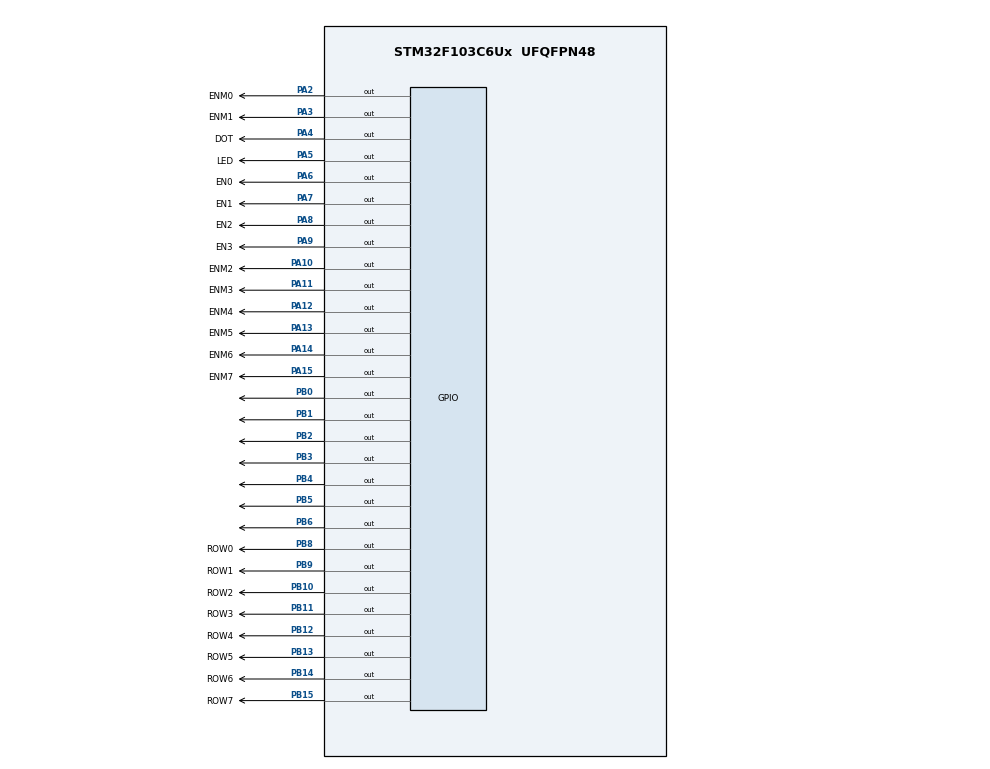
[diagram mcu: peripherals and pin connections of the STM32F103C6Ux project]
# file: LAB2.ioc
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Mcu.Family=STM32F1
Mcu.Name=STM32F103C6Ux
Mcu.Package=UFQFPN48
NVIC.PriorityGroup=NVIC_PRIORITYGROUP_4
NVIC.TIM2_IRQn=true\:0\:0\:false\:false\:true\:true\:true
PA10.GPIO_Label=ENM2
PA10.Signal=GPIO_Output
PA11.GPIO_Label=ENM3
PA11.Signal=GPIO_Output
PA12.GPIO_Label=ENM4
PA12.Signal=GPIO_Output
PA13.GPIO_Label=ENM5
PA13.Signal=GPIO_Output
PA14.GPIO_Label=ENM6
PA14.Signal=GPIO_Output
PA15.GPIO_Label=ENM7
PA15.Signal=GPIO_Output
PA2.GPIO_Label=ENM0
PA2.Signal=GPIO_Output
PA3.GPIO_Label=ENM1
PA3.Signal=GPIO_Output
PA4.GPIO_Label=DOT
PA4.Signal=GPIO_Output
PA5.GPIO_Label=LED
PA5.Signal=GPIO_Output
PA6.GPIO_Label=EN0
PA6.Signal=GPIO_Output
PA7.GPIO_Label=EN1
PA7.Signal=GPIO_Output
PA8.GPIO_Label=EN2
PA8.Signal=GPIO_Output
PA9.GPIO_Label=EN3
PA9.Signal=GPIO_Output
PB0.Signal=GPIO_Output
PB1.Signal=GPIO_Output
PB10.GPIO_Label=ROW2
PB10.Signal=GPIO_Output
PB11.GPIO_Label=ROW3
PB11.Signal=GPIO_Output
PB12.GPIO_Label=ROW4
PB12.Signal=GPIO_Output
PB13.GPIO_Label=ROW5
PB13.Signal=GPIO_Output
PB14.GPIO_Label=ROW6
PB14.Signal=GPIO_Output
PB15.GPIO_Label=ROW7
PB15.Signal=GPIO_Output
PB2.Signal=GPIO_Output
PB3.Signal=GPIO_Output
PB4.Signal=GPIO_Output
PB5.Signal=GPIO_Output
PB6.Signal=GPIO_Output
PB8.GPIO_Label=ROW0
PB8.Signal=GPIO_Output
PB9.GPIO_Label=ROW1
PB9.Signal=GPIO_Output
ProjectManager.HeapSize=0x200
ProjectManager.StackSize=0x400
ProjectManager.TargetToolchain=STM32CubeIDE
RCC.APB1Freq_Value=8000000
RCC.APB2Freq_Value=8000000
TIM2.Period=9
TIM2.Prescaler=7999
VP_SYS_VS_ND.Mode=No_Debug
VP_TIM2_VS_ClockSourceINT.Mode=Internal
board=custom

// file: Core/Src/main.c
/* USER CODE BEGIN Header */
/**
  ******************************************************************************
  * @file           : main.c
  * @brief          : Main program body
  ******************************************************************************
  * @attention
  *
  * <h2><center>&copy; Copyright (c) 2022 STMicroelectronics.
  * All rights reserved.</center></h2>
  *
  * This software component is licensed by ST under BSD 3-Clause license,
  * the "License"; You may not use this file except in compliance with the
  * License. You may obtain a copy of the License at:
  *                        opensource.org/licenses/BSD-3-Clause
  *
  ******************************************************************************
  */
/* USER CODE END Header */
#include "main.h"

/* USER CODE BEGIN Includes */
#include "software_timer.h"
#include "7led.h"
#include  "fsm_automatic.h"
#include "global.h"
#include "setup_matrix.h"
/* USER CODE END Includes */

TIM_HandleTypeDef htim2;

void SystemClock_Config(void);
static void MX_TIM2_Init(void);
static void MX_GPIO_Init(void);

int main(void)
{

  /* MCU Configuration--------------------------------------------------------*/

  /* Reset of all peripherals, Initializes the Flash interface and the Systick. */
  HAL_Init();

  /* Configure the system clock */
  SystemClock_Config();

  /* Initialize all configured peripherals */
  MX_TIM2_Init();
  MX_GPIO_Init();
  /* USER CODE BEGIN 2 */
  HAL_TIM_Base_Start_IT (& htim2) ;

  /* USER CODE END 2 */

  /* Infinite loop */
  /* USER CODE BEGIN WHILE */

  index_led_matrix = 0;
  shift = 0;
  setTimer1(2);
  while (1)
  {
	  	 if(timer1_flag == 1){
	  		setTimer1(2);
	  		//updateLedBuffer();
	  		updateLedBuffer_animation();
	  		if( index_led_matrix > 7) index_led_matrix = 0;
	  		updateLEDMatrix(index_led_matrix++) ;
	  	 }

    /* USER CODE END WHILE */

  }
}

void SystemClock_Config(void)
{
  RCC_OscInitTypeDef RCC_OscInitStruct = {0};
  RCC_ClkInitTypeDef RCC_ClkInitStruct = {0};

  /** Initializes the RCC Oscillators according to the specified parameters
  * in the RCC_OscInitTypeDef structure.
  */
  RCC_OscInitStruct.OscillatorType = RCC_OSCILLATORTYPE_HSI;
  RCC_OscInitStruct.HSIState = RCC_HSI_ON;
  RCC_OscInitStruct.HSICalibrationValue = RCC_HSICALIBRATION_DEFAULT;
  RCC_OscInitStruct.PLL.PLLState = RCC_PLL_NONE;
  if (HAL_RCC_OscConfig(&RCC_OscInitStruct) != HAL_OK)
  {
    Error_Handler();
  }
  /** Initializes the CPU, AHB and APB buses clocks
  */
  RCC_ClkInitStruct.ClockType = RCC_CLOCKTYPE_HCLK|RCC_CLOCKTYPE_SYSCLK
                              |RCC_CLOCKTYPE_PCLK1|RCC_CLOCKTYPE_PCLK2;
  RCC_ClkInitStruct.SYSCLKSource = RCC_SYSCLKSOURCE_HSI;
  RCC_ClkInitStruct.AHBCLKDivider = RCC_SYSCLK_DIV1;
  RCC_ClkInitStruct.APB1CLKDivider = RCC_HCLK_DIV1;
  RCC_ClkInitStruct.APB2CLKDivider = RCC_HCLK_DIV1;

  if (HAL_RCC_ClockConfig(&RCC_ClkInitStruct, FLASH_LATENCY_0) != HAL_OK)
  {
    Error_Handler();
  }
}

static void MX_TIM2_Init(void)
{

  TIM_ClockConfigTypeDef sClockSourceConfig = {0};
  TIM_MasterConfigTypeDef sMasterConfig = {0};

  htim2.Instance = TIM2;
  htim2.Init.Prescaler = 7999;
  htim2.Init.CounterMode = TIM_COUNTERMODE_UP;
  htim2.Init.Period = 9;
  htim2.Init.ClockDivision = TIM_CLOCKDIVISION_DIV1;
  htim2.Init.AutoReloadPreload = TIM_AUTORELOAD_PRELOAD_DISABLE;
  if (HAL_TIM_Base_Init(&htim2) != HAL_OK)
  {
    Error_Handler();
  }
  sClockSourceConfig.ClockSource = TIM_CLOCKSOURCE_INTERNAL;
  if (HAL_TIM_ConfigClockSource(&htim2, &sClockSourceConfig) != HAL_OK)
  {
    Error_Handler();
  }
  sMasterConfig.MasterOutputTrigger = TIM_TRGO_RESET;
  sMasterConfig.MasterSlaveMode = TIM_MASTERSLAVEMODE_DISABLE;
  if (HAL_TIMEx_MasterConfigSynchronization(&htim2, &sMasterConfig) != HAL_OK)
  {
    Error_Handler();
  }

}

static void MX_GPIO_Init(void)
{
  GPIO_InitTypeDef GPIO_InitStruct = {0};

  /* GPIO Ports Clock Enable */
  __HAL_RCC_GPIOA_CLK_ENABLE();
  __HAL_RCC_GPIOB_CLK_ENABLE();

  /*Configure GPIO pin Output Level */
  HAL_GPIO_WritePin(GPIOA, ENM0_Pin|ENM1_Pin|DOT_Pin|LED_Pin
                          |EN0_Pin|EN1_Pin|EN2_Pin|EN3_Pin
                          |ENM2_Pin|ENM3_Pin|ENM4_Pin|ENM5_Pin
                          |ENM6_Pin|ENM7_Pin, GPIO_PIN_RESET);

  /*Configure GPIO pin Output Level */
  HAL_GPIO_WritePin(GPIOB, GPIO_PIN_0|GPIO_PIN_1|GPIO_PIN_2|ROW2_Pin
                          |ROW3_Pin|ROW4_Pin|ROW5_Pin|ROW6_Pin
                          |ROW7_Pin|GPIO_PIN_3|GPIO_PIN_4|GPIO_PIN_5
                          |GPIO_PIN_6|ROW0_Pin|ROW1_Pin, GPIO_PIN_RESET);

  /*Configure GPIO pins : ENM0_Pin ENM1_Pin DOT_Pin LED_Pin
                           EN0_Pin EN1_Pin EN2_Pin EN3_Pin
                           ENM2_Pin ENM3_Pin ENM4_Pin ENM5_Pin
                           ENM6_Pin ENM7_Pin */
  GPIO_InitStruct.Pin = ENM0_Pin|ENM1_Pin|DOT_Pin|LED_Pin
                          |EN0_Pin|EN1_Pin|EN2_Pin|EN3_Pin
                          |ENM2_Pin|ENM3_Pin|ENM4_Pin|ENM5_Pin
                          |ENM6_Pin|ENM7_Pin;
  GPIO_InitStruct.Mode = GPIO_MODE_OUTPUT_PP;
  GPIO_InitStruct.Pull = GPIO_NOPULL;
  GPIO_InitStruct.Speed = GPIO_SPEED_FREQ_LOW;
  HAL_GPIO_Init(GPIOA, &GPIO_InitStruct);

  /*Configure GPIO pins : PB0 PB1 PB2 ROW2_Pin
                           ROW3_Pin ROW4_Pin ROW5_Pin ROW6_Pin
                           ROW7_Pin PB3 PB4 PB5
                           PB6 ROW0_Pin ROW1_Pin */
  GPIO_InitStruct.Pin = GPIO_PIN_0|GPIO_PIN_1|GPIO_PIN_2|ROW2_Pin
                          |ROW3_Pin|ROW4_Pin|ROW5_Pin|ROW6_Pin
                          |ROW7_Pin|GPIO_PIN_3|GPIO_PIN_4|GPIO_PIN_5
                          |GPIO_PIN_6|ROW0_Pin|ROW1_Pin;
  GPIO_InitStruct.Mode = GPIO_MODE_OUTPUT_PP;
  GPIO_InitStruct.Pull = GPIO_NOPULL;
  GPIO_InitStruct.Speed = GPIO_SPEED_FREQ_LOW;
  HAL_GPIO_Init(GPIOB, &GPIO_InitStruct);

}

/* USER CODE BEGIN 4 */
void HAL_TIM_PeriodElapsedCallback ( TIM_HandleTypeDef * htim )
{
	timerRun();
}

/* USER CODE END 4 */

void Error_Handler(void)
{
  __disable_irq();
  while (1)
  {
  }
}

/************************ (C) COPYRIGHT STMicroelectronics *****END OF FILE****/
